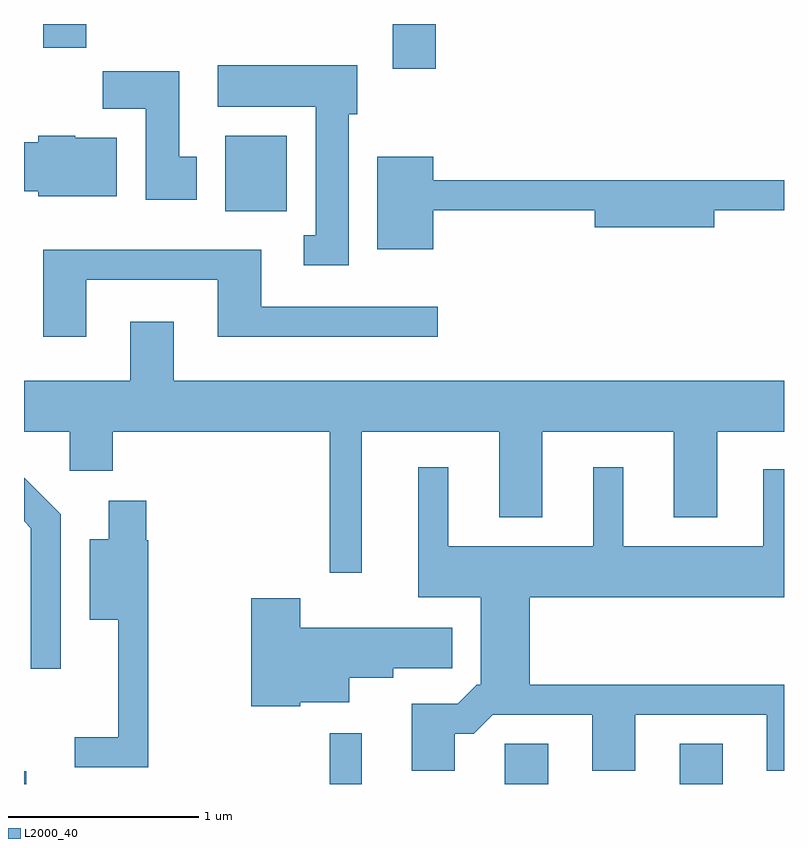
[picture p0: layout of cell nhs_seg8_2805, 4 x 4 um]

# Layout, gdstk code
import gdstk
lib = gdstk.Library(unit=1e-6, precision=1e-09)
def R(c, l, rs):  # rectangles x0, y0, x1, y1
    for r in rs: c.add(gdstk.rectangle(r[:2], r[2:], *l))
def P(c, l, *ps):  # polygons
    for p in ps: c.add(gdstk.Polygon(p, *l))
L2000_40 = (2000, 40)

nhs_seg8_2805 = lib.new_cell('nhs_seg8_2805')
R(nhs_seg8_2805, L2000_40, [(269.611,1832.342,269.624,1832.409), (271.221,1832.342,271.389,1832.608), (272.141,1832.342,272.369,1832.554), (273.061,1832.342,273.289,1832.554), (270.671,1835.356,270.994,1835.754), (271.551,1836.106,271.779,1836.342), (269.711,1836.216,269.939,1836.342)])
P(nhs_seg8_2805, L2000_40, [(271.319,1835.866),(271.364,1835.866),(271.364,1836.124),(270.631,1836.124),(270.631,1835.906),(271.146,1835.906),(271.146,1835.229),(271.083,1835.229),(271.083,1835.071),(271.319,1835.071)],
  [(270.519,1835.644),(270.429,1835.644),(270.429,1836.094),(270.026,1836.094),(270.026,1835.896),(270.251,1835.896),(270.251,1835.416),(270.519,1835.416)],
  [(270.099,1835.744),(269.88,1835.744),(269.88,1835.754),(269.686,1835.754),(269.686,1835.719),(269.611,1835.719),(269.611,1835.461),(269.686,1835.461),(269.686,1835.436),(270.099,1835.436)],
  [(271.764,1835.361),(272.616,1835.361),(272.616,1835.271),(273.244,1835.271),(273.244,1835.361),(273.611,1835.361),(273.611,1835.519),(271.764,1835.519),(271.764,1835.644),(271.471,1835.644),(271.471,1835.156),(271.764,1835.156)],
  [(269.939,1834.996),(270.631,1834.996),(270.631,1834.696),(271.788,1834.696),(271.788,1834.854),(270.859,1834.854),(270.859,1835.154),(269.711,1835.154),(269.711,1834.696),(269.939,1834.696)],
  [(271.389,1834.196),(272.111,1834.196),(272.111,1833.746),(272.339,1833.746),(272.339,1834.196),(273.031,1834.196),(273.031,1833.746),(273.259,1833.746),(273.259,1834.196),(273.611,1834.196),(273.611,1834.464),(270.399,1834.464),(270.399,1834.774),(270.171,1834.774),(270.171,1834.464),(269.611,1834.464),(269.611,1834.196),(269.851,1834.196),(269.851,1833.991),(270.079,1833.991),(270.079,1834.196),(271.221,1834.196),(271.221,1833.453),(271.389,1833.453)],
  [(271.879,1832.606),(271.977,1832.606),(272.077,1832.706),(272.601,1832.706),(272.601,1832.411),(272.829,1832.411),(272.829,1832.706),(273.521,1832.706),(273.521,1832.411),(273.611,1832.411),(273.611,1832.864),(272.274,1832.864),(272.274,1833.326),(273.611,1833.326),(273.611,1833.999),(273.501,1833.999),(273.501,1833.594),(272.764,1833.594),(272.764,1834.008),(272.606,1834.008),(272.606,1833.594),(271.844,1833.594),(271.844,1834.008),(271.686,1834.008),(271.686,1833.326),(272.016,1833.326),(272.016,1832.864),(271.994,1832.864),(271.894,1832.764),(271.651,1832.764),(271.651,1832.411),(271.879,1832.411)],
  [(269.804,1833.762),(269.611,1833.955),(269.611,1833.724),(269.646,1833.689),(269.646,1832.948),(269.804,1832.948)],
  [(270.264,1833.625),(270.254,1833.625),(270.254,1833.834),(270.056,1833.834),(270.056,1833.629),(269.956,1833.629),(269.956,1833.206),(270.106,1833.206),(270.106,1832.589),(269.878,1832.589),(269.878,1832.431),(270.264,1832.431)],
  [(271.064,1832.771),(271.324,1832.771),(271.324,1832.901),(271.554,1832.901),(271.554,1832.951),(271.864,1832.951),(271.864,1833.164),(271.064,1833.164),(271.064,1833.319),(270.806,1833.319),(270.806,1832.751),(271.064,1832.751)])

lib.write_gds('nhs_seg8_2805.gds')
